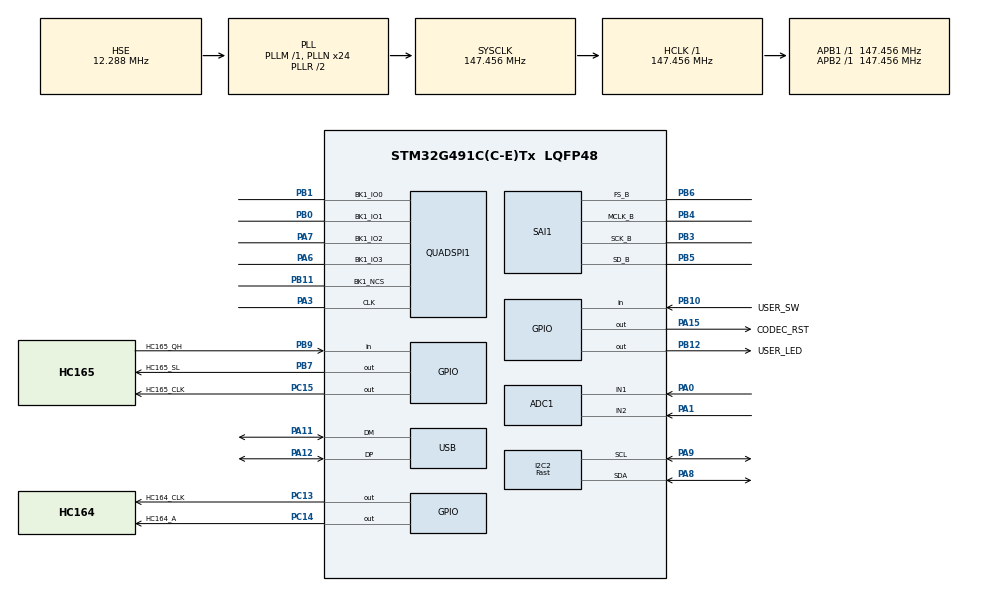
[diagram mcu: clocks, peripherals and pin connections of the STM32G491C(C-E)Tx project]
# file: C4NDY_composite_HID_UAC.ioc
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ADC1.Channel-0\#ChannelRegularConversion=ADC_CHANNEL_1
ADC1.Channel-1\#ChannelRegularConversion=ADC_CHANNEL_2
ADC1.ClockPrescaler=ADC_CLOCK_ASYNC_DIV4
ADC1.ContinuousConvMode=ENABLE
ADC1.DMAContinuousRequests=ENABLE
ADC1.NbrOfConversion=2
ADC1.NbrOfConversionFlag=1
ADC1.OffsetNumber-0\#ChannelRegularConversion=ADC_OFFSET_NONE
ADC1.OffsetNumber-1\#ChannelRegularConversion=ADC_OFFSET_NONE
ADC1.Overrun=ADC_OVR_DATA_OVERWRITTEN
ADC1.OversamplingMode=DISABLE
ADC1.Rank-0\#ChannelRegularConversion=1
ADC1.Rank-1\#ChannelRegularConversion=2
ADC1.SamplingTime-0\#ChannelRegularConversion=ADC_SAMPLETIME_640CYCLES_5
ADC1.SamplingTime-1\#ChannelRegularConversion=ADC_SAMPLETIME_640CYCLES_5
ADC1.master=1
Dma.ADC1.0.Direction=DMA_PERIPH_TO_MEMORY
Dma.ADC1.0.EventEnable=DISABLE
Dma.ADC1.0.Instance=DMA1_Channel2
Dma.ADC1.0.MemDataAlignment=DMA_MDATAALIGN_HALFWORD
Dma.ADC1.0.MemInc=DMA_MINC_ENABLE
Dma.ADC1.0.Mode=DMA_CIRCULAR
Dma.ADC1.0.PeriphDataAlignment=DMA_PDATAALIGN_HALFWORD
Dma.ADC1.0.PeriphInc=DMA_PINC_DISABLE
Dma.ADC1.0.Polarity=HAL_DMAMUX_REQ_GEN_RISING
Dma.ADC1.0.Priority=DMA_PRIORITY_LOW
Dma.ADC1.0.RequestNumber=1
Dma.ADC1.0.SignalID=NONE
Dma.ADC1.0.SyncEnable=DISABLE
Dma.ADC1.0.SyncPolarity=HAL_DMAMUX_SYNC_NO_EVENT
Dma.ADC1.0.SyncRequestNumber=1
Dma.ADC1.0.SyncSignalID=NONE
Dma.Request0=ADC1
I2C2.I2C_Speed_Mode=I2C_Fast
I2C2.Timing=0x40200F35
Mcu.Family=STM32G4
Mcu.Name=STM32G491C(C-E)Tx
Mcu.Package=LQFP48
NVIC.ADC1_2_IRQn=true\:8\:0\:true\:false\:true\:true\:true\:true
NVIC.DMA1_Channel2_IRQn=true\:4\:0\:true\:false\:true\:false\:true\:true
NVIC.PriorityGroup=NVIC_PRIORITYGROUP_4
NVIC.SAI1_IRQn=true\:2\:0\:true\:false\:true\:true\:true\:true
NVIC.TIM6_DAC_IRQn=true\:8\:0\:true\:false\:true\:true\:true\:true
NVIC.USB_HP_IRQn=true\:0\:0\:false\:false\:true\:true\:true\:true
NVIC.USB_LP_IRQn=true\:3\:0\:true\:false\:true\:true\:true\:true
PA0.Signal=SharedAnalog_PA0
PA1.Signal=SharedAnalog_PA1
PA11.Mode=Device
PA11.Signal=USB_DM
PA12.Mode=Device
PA12.Signal=USB_DP
PA13.Mode=Serial_Wire
PA13.Signal=SYS_JTMS-SWDIO
PA14.Mode=Serial_Wire
PA14.Signal=SYS_JTCK-SWCLK
PA15.GPIO_Label=CODEC_RST
PA15.Signal=GPIO_Output
PA3.GPIO_Speed=GPIO_SPEED_FREQ_VERY_HIGH
PA3.Mode=Single Bank 1
PA3.Signal=QUADSPI1_CLK
PA6.GPIO_Speed=GPIO_SPEED_FREQ_VERY_HIGH
PA6.Mode=Single Bank 1
PA6.Signal=QUADSPI1_BK1_IO3
PA7.GPIO_Speed=GPIO_SPEED_FREQ_VERY_HIGH
PA7.Mode=Single Bank 1
PA7.Signal=QUADSPI1_BK1_IO2
PA8.Mode=I2C
PA8.Signal=I2C2_SDA
PA9.Mode=I2C
PA9.Signal=I2C2_SCL
PB0.GPIO_Speed=GPIO_SPEED_FREQ_VERY_HIGH
PB0.Mode=Single Bank 1
PB0.Signal=QUADSPI1_BK1_IO1
PB1.GPIO_Speed=GPIO_SPEED_FREQ_VERY_HIGH
PB1.Mode=Single Bank 1
PB1.Signal=QUADSPI1_BK1_IO0
PB10.GPIO_Label=USER_SW
PB10.GPIO_PuPd=GPIO_PULLUP
PB10.Signal=GPIO_Input
PB11.GPIO_Speed=GPIO_SPEED_FREQ_VERY_HIGH
PB11.Mode=Single Bank 1
PB11.Signal=QUADSPI1_BK1_NCS
PB12.GPIO_Label=USER_LED
PB12.Signal=GPIO_Output
PB3.GPIO_Speed=GPIO_SPEED_FREQ_VERY_HIGH
PB3.Mode=SAI_B_MasterWithClock
PB3.Signal=SAI1_SCK_B
PB4.GPIO_Speed=GPIO_SPEED_FREQ_VERY_HIGH
PB4.Mode=SAI_B_MasterWithClock
PB4.Signal=SAI1_MCLK_B
PB5.GPIO_Speed=GPIO_SPEED_FREQ_VERY_HIGH
PB5.Mode=SAI_B_MasterWithClock
PB5.Signal=SAI1_SD_B
PB6.GPIO_FM6=__NULL
PB6.GPIO_Speed=GPIO_SPEED_FREQ_VERY_HIGH
PB6.Mode=SAI_B_MasterWithClock
PB6.Signal=SAI1_FS_B
PB7.GPIO_Label=HC165_SL
PB7.GPIO_Speed=GPIO_SPEED_FREQ_HIGH
PB7.Signal=GPIO_Output
PB9.GPIO_Label=HC165_QH
PB9.Signal=GPIO_Input
PC13.GPIO_Label=HC164_CLK
PC13.Signal=GPIO_Output
PC14-OSC32_IN.GPIO_Label=HC164_A
PC14-OSC32_IN.Signal=GPIO_Output
PC15-OSC32_OUT.GPIO_Label=HC165_CLK
PC15-OSC32_OUT.Signal=GPIO_Output
PF0-OSC_IN.Mode=HSE-External-Clock-Source
PF0-OSC_IN.Signal=RCC_OSC_IN
ProjectManager.HeapSize=0x200
ProjectManager.StackSize=0x400
ProjectManager.TargetToolchain=STM32CubeIDE
QUADSPI1.ClockMode=QSPI_CLOCK_MODE_0
QUADSPI1.ClockPrescaler=1
QUADSPI1.FifoThreshold=4
QUADSPI1.FlashSize=10
QUADSPI1.SampleShifting=QSPI_SAMPLE_SHIFTING_NONE
RCC.ADC12Freq_Value=147456000
RCC.ADC345Freq_Value=147456000
RCC.AHBFreq_Value=147456000
RCC.APB1Freq_Value=147456000
RCC.APB1TimFreq_Value=147456000
RCC.APB2Freq_Value=147456000
RCC.APB2TimFreq_Value=147456000
RCC.CortexFreq_Value=147456000
RCC.EXTERNAL_CLOCK_VALUE=12288000
RCC.HCLKFreq_Value=147456000
RCC.HSE_VALUE=12288000
RCC.HSI48_VALUE=48000000
RCC.HSI_VALUE=16000000
RCC.LSE_VALUE=32768
RCC.PLLN=24
RCC.PLLQ=RCC_PLLQ_DIV6
RCC.PLLSourceVirtual=RCC_PLLSOURCE_HSE
RCC.PWR_Regulator_Voltage_Scale=PWR_REGULATOR_VOLTAGE_SCALE1_BOOST
RCC.SAI1CLockSelection=RCC_SAI1CLKSOURCE_PLL
RCC.SYSCLKFreq_VALUE=147456000
RCC.SYSCLKSource=RCC_SYSCLKSOURCE_PLLCLK
RCC.USBFreq_Value=48000000
RCC.VCOOutputFreq_Value=294912000
SAI1.ActiveFrameLength-SAI_B_MasterWithClock=16
SAI1.AudioFrequency-SAI_B_MasterWithClock=SAI_AUDIO_FREQUENCY_MCKDIV
SAI1.DataSize-SAI_B_MasterWithClock=SAI_DATASIZE_16
SAI1.FIFOThreshold-SAI_B_MasterWithClock=SAI_FIFOTHRESHOLD_HF
SAI1.FirstBitOffset-SAI_B_MasterWithClock=0
SAI1.FrameLength-SAI_B_MasterWithClock=32
SAI1.Instance-SAI_B_MasterWithClock=SAI$Index_Block_B
SAI1.MckOutput-SAI_B_MasterWithClock=SAI_MCK_OUTPUT_ENABLE
SAI1.MckOverSampling-SAI_B_MasterWithClock=SAI_MCK_OVERSAMPLING_DISABLE
SAI1.Mckdiv-SAI_B_MasterWithClock=4
SAI1.MonoStereoMode-SAI_B_MasterWithClock=SAI_STEREOMODE
SAI1.NoDivider-SAI_B_MasterWithClock=SAI_MASTERDIVIDER_ENABLE
SAI1.SlotActive-SAI_B_MasterWithClock=0x0000FFFF
SAI1.SlotNumber-SAI_B_MasterWithClock=2
SAI1.VirtualMode-SAI_B_MasterWithClock=VM_MASTER
SAI1.VirtualSlotActive-SAI_B_MasterWithClock=SAI_SLOTACTIVE_ALL
SH.SharedAnalog_PA0.0=GPIO_Analog
SH.SharedAnalog_PA0.1=ADC1_IN1,IN1-Single-Ended
SH.SharedAnalog_PA1.0=GPIO_Analog
SH.SharedAnalog_PA1.1=ADC1_IN2,IN2-Single-Ended
TIM6.PeriodNoDither=20-1
TIM6.Prescaler=32768-1
USB.Sof_enable=ENABLE
VP_TIM6_VS_ClockSourceINT.Mode=Enable_Timer
board=custom

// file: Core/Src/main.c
/* USER CODE BEGIN Header */
/**
  ******************************************************************************
  * @file           : main.c
  * @brief          : Main program body
  ******************************************************************************
  * @attention
  *
  * Copyright (c) 2023 STMicroelectronics.
  * All rights reserved.
  *
  * This software is licensed under terms that can be found in the LICENSE file
  * in the root directory of this software component.
  * If no LICENSE file comes with this software, it is provided AS-IS.
  *
  ******************************************************************************
  */
/* USER CODE END Header */
#include "main.h"
#include "adc.h"
#include "dma.h"
#include "i2c.h"
#include "quadspi.h"
#include "sai.h"
#include "tim.h"
#include "usb.h"
#include "gpio.h"

/* USER CODE BEGIN Includes */
#include <stdbool.h>
#include <stdlib.h>
#include <math.h>

#include "usb_descriptors.h"

#include "ADAU1761_IC_1_PARAM.h"
#include "ADAU1761_IC_1_REG.h"
#include "ADAU1761_IC_1.h"
#include "SigmaStudioFW.h"
/* USER CODE END Includes */

/* USER CODE BEGIN PD */
#define AUDIO_SAMPLE_RATE 48000

#define ADAU1761_ADDR 0x70

#define MATRIX_ROWS 5
#define MATRIX_COLUMNS 13
/* USER CODE END PD */

/* USER CODE BEGIN PM */
#define SIGMASTUDIOTYPE_FIXPOINT 	0
#define SIGMASTUDIOTYPE_INTEGER 	1

#define SIGMA_SAFELOAD_MODULO_RAM_SIZE 0x0000
#define SIGMA_SAFELOAD_DATA_1 0x0001
#define SIGMA_SAFELOAD_DATA_2 0x0002
#define SIGMA_SAFELOAD_DATA_3 0x0003
#define SIGMA_SAFELOAD_DATA_4 0x0004
#define SIGMA_SAFELOAD_DATA_5 0x0005
#define SIGMA_SAFELOAD_TARGET_ADDRESS 0x0006
#define SIGMA_SAFELOAD_TRIGGER 0x0007

/* USER CODE END PM */

/* USER CODE BEGIN PV */
uint16_t pot_value[2] = {0};
uint8_t xfade_buffer_index = 0;
uint8_t buffer_index = 0;
uint16_t xfade_buffer[16] = {0};
uint16_t xfade = 0;
uint16_t xfade_prev = 0;
uint16_t master_gain_buffer[16] = {0};
uint16_t master_gain = 0;
uint16_t master_gain_prev = 0;

struct keyboardHID_t {
	uint8_t modifiers;
	uint8_t reserved;
	uint8_t key[6];
} keyboardHID;

uint16_t keyState[MATRIX_ROWS] = {0x0};
uint16_t prevKeyState[MATRIX_ROWS] = {0x0};

bool isKeymapIDChanged = false;
uint8_t keymapID = 0;

// List of supported sample rates
const uint32_t sample_rates[] = {48000};
uint32_t current_sample_rate  = 48000;

enum
{
  VOLUME_CTRL_0_DB = 0,
  VOLUME_CTRL_10_DB = 2560,
  VOLUME_CTRL_20_DB = 5120,
  VOLUME_CTRL_30_DB = 7680,
  VOLUME_CTRL_40_DB = 10240,
  VOLUME_CTRL_50_DB = 12800,
  VOLUME_CTRL_60_DB = 15360,
  VOLUME_CTRL_70_DB = 17920,
  VOLUME_CTRL_80_DB = 20480,
  VOLUME_CTRL_90_DB = 23040,
  VOLUME_CTRL_100_DB = 25600,
  VOLUME_CTRL_SILENCE = 0x8000,
};

// Audio controls
// Current states
int8_t mute[CFG_TUD_AUDIO_FUNC_1_N_CHANNELS_RX + 1];       // +1 for master channel 0
int16_t volume[CFG_TUD_AUDIO_FUNC_1_N_CHANNELS_RX + 1];    // +1 for master channel 0

// Buffer for microphone data
int32_t mic_buf[CFG_TUD_AUDIO_FUNC_1_EP_IN_SW_BUF_SZ / 2];
// Buffer for speaker data
int32_t spk_buf[CFG_TUD_AUDIO_FUNC_1_EP_OUT_SW_BUF_SZ / 2] = {0};
int32_t hpout_buf[CFG_TUD_AUDIO_FUNC_1_EP_OUT_SW_BUF_SZ / 2] = {0};

#define SAI_RNG_BUF_SIZE 20480
#define SAI_BUF_SIZE 512
uint64_t sai_buf_index = 0;
uint64_t sai_transmit_index = 0;
int32_t sai_buf[SAI_RNG_BUF_SIZE] = {0};
bool is_dma_pause = false;

// Speaker data size received in the last frame
int spk_data_size;
// Resolution per format
const uint8_t resolutions_per_format[CFG_TUD_AUDIO_FUNC_1_N_FORMATS] = {CFG_TUD_AUDIO_FUNC_1_FORMAT_1_RESOLUTION_RX,
                                                                        CFG_TUD_AUDIO_FUNC_1_FORMAT_2_RESOLUTION_RX};
// Current resolution, update on format change
uint8_t current_resolution = 16;

#define N_SAMPLE_RATES  TU_ARRAY_SIZE(sample_rates)

// deafult QWERTY layout
uint8_t keymaps_default[MATRIX_ROWS][MATRIX_COLUMNS] = {
//       ESC   1     2     3     4     5     6     7     8     9     0     -_    =+
		{0x29, 0x1E, 0x1F, 0x20, 0x21, 0x22, 0x23, 0x24, 0x25, 0x26, 0x27, 0x2D, 0x2E},
//       TAB   q     w     e     r     t     y     u     i     o     p     [{    ]}
		{0x2B, 0x14, 0x1A, 0x08, 0x15, 0x17, 0x1C, 0x18, 0x0C, 0x12, 0x13, 0x2F, 0x30},
//       CAPS  a     s     d     f     g     h     j     k     l     ;:    '"    \|
		{0x39, 0x04, 0x16, 0x07, 0x09, 0x0A, 0x0B, 0x0D, 0x0E, 0x0F, 0x33, 0x34, 0x89},
//       LSFT  z     x     c     v     b     n     m     ,<    .>    /?    RSFT  `~
		{0xE1, 0x1D, 0x1B, 0x06, 0x19, 0x05, 0x11, 0x10, 0x36, 0x37, 0x38, 0xE5, 0x35},
//       GUI               LALT  BS    ENT   SPC   Int4  RCTRL ◀     ▼     ▲     ►
		{0xE3, 0xFE, 0xFF, 0xE2, 0x2A, 0x28, 0x2C, 0x8A, 0xE4, 0x50, 0x51, 0x52, 0x4F}
};

// Pinky-less Dvorak layout
uint8_t keymaps_pinkyless[MATRIX_ROWS][MATRIX_COLUMNS] = {
//       ESC   1     2     3     4     5     6     7     8     9     0     [{    }]
		{0x29, 0x1E, 0x1F, 0x20, 0x21, 0x22, 0x23, 0x24, 0x25, 0x26, 0x27, 0x2F, 0x30},
//       TAB   '"    ,<    o     u     y     f     g     c     r     l     /?    +=
		{0x2B, 0x34, 0x36, 0x12, 0x18, 0x1C, 0x09, 0x0A, 0x06, 0x15, 0x0F, 0x38, 0x2E},
//       LCTRL p     i     e     a     .>    d     s     t     h     z     -_    \|
		{0xE0, 0x13, 0x0C, 0x08, 0x04, 0x37, 0x07, 0x16, 0x17, 0x0B, 0x1D, 0x2D, 0x31},
//       LSFT  j     q     ;:    k     x     b     m     w     n     v     RSFT  `~
		{0xE1, 0x0D, 0x14, 0x33, 0x0E, 0x1B, 0x05, 0x10, 0x1A, 0x11, 0x19, 0xE5, 0x35},
//       GUI               LALT  BS    DEL   ENT   SPC   CAPS  ◀     ▼     ▲     ►
		{0xE3, 0xFE, 0xFF, 0xE2, 0x2A, 0x4C, 0x28, 0x2C, 0x39, 0x50, 0x51, 0x52, 0x4F}
};
/* USER CODE END PV */

void SystemClock_Config(void);

/* USER CODE BEGIN 0 */
//--------------------------------------------------------------------+
// USB HID
//--------------------------------------------------------------------+

// Invoked when sent REPORT successfully to host
// Application can use this to send the next report
// Note: For composite reports, report[0] is report ID
#if 0
void tud_hid_report_complete_cb(uint8_t instance, uint8_t const* report, uint16_t len)
{
  (void) instance;
  (void) len;

  uint8_t next_report_id = report[0] + 1u;

  if (next_report_id < REPORT_ID_COUNT)
  {
    send_hid_report(next_report_id, board_button_read());
  }
}
#endif

// Invoked when received GET_REPORT control request
// Application must fill buffer report's content and return its length.
// Return zero will cause the stack to STALL request
uint16_t tud_hid_get_report_cb(uint8_t instance, uint8_t report_id, hid_report_type_t report_type, uint8_t* buffer, uint16_t reqlen)
{
  // TODO not Implemented
  (void) instance;
  (void) report_id;
  (void) report_type;
  (void) buffer;
  (void) reqlen;

  return 0;
}

// Invoked when received SET_REPORT control request or
// received data on OUT endpoint ( Report ID = 0, Type = 0 )
void tud_hid_set_report_cb(uint8_t instance, uint8_t report_id, hid_report_type_t report_type, uint8_t const* buffer, uint16_t bufsize)
{
  (void) instance;
#if 0
  if (report_type == HID_REPORT_TYPE_OUTPUT)
  {
    // Set keyboard LED e.g Capslock, Numlock etc...
    if (report_id == REPORT_ID_KEYBOARD)
    {
      // bufsize should be (at least) 1
      if ( bufsize < 1 ) return;

      uint8_t const kbd_leds = buffer[0];

      if (kbd_leds & KEYBOARD_LED_CAPSLOCK)
      {
        // Capslock On: disable blink, turn led on
        blink_interval_ms = 0;
        board_led_write(true);
      }else
      {
        // Caplocks Off: back to normal blink
        board_led_write(false);
        blink_interval_ms = BLINK_MOUNTED;
      }
    }
  }
#endif
}

// Helper for clock get requests
static bool tud_audio_clock_get_request(uint8_t rhport, audio_control_request_t const *request)
{
  TU_ASSERT(request->bEntityID == UAC2_ENTITY_CLOCK);

  if (request->bControlSelector == AUDIO_CS_CTRL_SAM_FREQ)
  {
    if (request->bRequest == AUDIO_CS_REQ_CUR)
    {
      TU_LOG1("Clock get current freq %lu\r\n", current_sample_rate);

      audio_control_cur_4_t curf = { (int32_t) tu_htole32(current_sample_rate) };
      return tud_audio_buffer_and_schedule_control_xfer(rhport, (tusb_control_request_t const *)request, &curf, sizeof(curf));
    }
    else if (request->bRequest == AUDIO_CS_REQ_RANGE)
    {
      audio_control_range_4_n_t(N_SAMPLE_RATES) rangef =
      {
        .wNumSubRanges = tu_htole16(N_SAMPLE_RATES)
      };
      TU_LOG1("Clock get %d freq ranges\r\n", N_SAMPLE_RATES);
      for(uint8_t i = 0; i < N_SAMPLE_RATES; i++)
      {
        rangef.subrange[i].bMin = (int32_t) sample_rates[i];
        rangef.subrange[i].bMax = (int32_t) sample_rates[i];
        rangef.subrange[i].bRes = 0;
        TU_LOG1("Range %d (%d, %d, %d)\r\n", i, (int)rangef.subrange[i].bMin, (int)rangef.subrange[i].bMax, (int)rangef.subrange[i].bRes);
      }

      return tud_audio_buffer_and_schedule_control_xfer(rhport, (tusb_control_request_t const *)request, &rangef, sizeof(rangef));
    }
  }
  else if (request->bControlSelector == AUDIO_CS_CTRL_CLK_VALID &&
           request->bRequest == AUDIO_CS_REQ_CUR)
  {
    audio_control_cur_1_t cur_valid = { .bCur = 1 };
    TU_LOG1("Clock get is valid %u\r\n", cur_valid.bCur);
    return tud_audio_buffer_and_schedule_control_xfer(rhport, (tusb_control_request_t const *)request, &cur_valid, sizeof(cur_valid));
  }
  TU_LOG1("Clock get request not supported, entity = %u, selector = %u, request = %u\r\n",
          request->bEntityID, request->bControlSelector, request->bRequest);
  return false;
}

// Helper for clock set requests
static bool tud_audio_clock_set_request(uint8_t rhport, audio_control_request_t const *request, uint8_t const *buf)
{
  (void)rhport;

  TU_ASSERT(request->bEntityID == UAC2_ENTITY_CLOCK);
  TU_VERIFY(request->bRequest == AUDIO_CS_REQ_CUR);

  if (request->bControlSelector == AUDIO_CS_CTRL_SAM_FREQ)
  {
    TU_VERIFY(request->wLength == sizeof(audio_control_cur_4_t));

    current_sample_rate = (uint32_t) ((audio_control_cur_4_t const *)buf)->bCur;

    TU_LOG1("Clock set current freq: %ld\r\n", current_sample_rate);

    return true;
  }
  else
  {
    TU_LOG1("Clock set request not supported, entity = %u, selector = %u, request = %u\r\n",
            request->bEntityID, request->bControlSelector, request->bRequest);
    return false;
  }
}

// Helper for feature unit get requests
static bool tud_audio_feature_unit_get_request(uint8_t rhport, audio_control_request_t const *request)
{
  TU_ASSERT(request->bEntityID == UAC2_ENTITY_SPK_FEATURE_UNIT);

  if (request->bControlSelector == AUDIO_FU_CTRL_MUTE && request->bRequest == AUDIO_CS_REQ_CUR)
  {
    audio_control_cur_1_t mute1 = { .bCur = mute[request->bChannelNumber] };
    TU_LOG1("Get channel %u mute %d\r\n", request->bChannelNumber, mute1.bCur);
    return tud_audio_buffer_and_schedule_control_xfer(rhport, (tusb_control_request_t const *)request, &mute1, sizeof(mute1));
  }
  else if (UAC2_ENTITY_SPK_FEATURE_UNIT && request->bControlSelector == AUDIO_FU_CTRL_VOLUME)
  {
    if (request->bRequest == AUDIO_CS_REQ_RANGE)
    {
      audio_control_range_2_n_t(1) range_vol = {
        .wNumSubRanges = tu_htole16(1),
        .subrange[0] = { .bMin = tu_htole16(-VOLUME_CTRL_50_DB), tu_htole16(VOLUME_CTRL_0_DB), tu_htole16(256) }
      };
      TU_LOG1("Get channel %u volume range (%d, %d, %u) dB\r\n", request->bChannelNumber,
              range_vol.subrange[0].bMin / 256, range_vol.subrange[0].bMax / 256, range_vol.subrange[0].bRes / 256);
      return tud_audio_buffer_and_schedule_control_xfer(rhport, (tusb_control_request_t const *)request, &range_vol, sizeof(range_vol));
    }
    else if (request->bRequest == AUDIO_CS_REQ_CUR)
    {
      audio_control_cur_2_t cur_vol = { .bCur = tu_htole16(volume[request->bChannelNumber]) };
      TU_LOG1("Get channel %u volume %d dB\r\n", request->bChannelNumber, cur_vol.bCur / 256);
      return tud_audio_buffer_and_schedule_control_xfer(rhport, (tusb_control_request_t const *)request, &cur_vol, sizeof(cur_vol));
    }
  }
  TU_LOG1("Feature unit get request not supported, entity = %u, selector = %u, request = %u\r\n",
          request->bEntityID, request->bControlSelector, request->bRequest);

  return false;
}

// Helper for feature unit set requests
static bool tud_audio_feature_unit_set_request(uint8_t rhport, audio_control_request_t const *request, uint8_t const *buf)
{
  (void)rhport;

  TU_ASSERT(request->bEntityID == UAC2_ENTITY_SPK_FEATURE_UNIT);
  TU_VERIFY(request->bRequest == AUDIO_CS_REQ_CUR);

  if (request->bControlSelector == AUDIO_FU_CTRL_MUTE)
  {
    TU_VERIFY(request->wLength == sizeof(audio_control_cur_1_t));

    mute[request->bChannelNumber] = ((audio_control_cur_1_t const *)buf)->bCur;

    TU_LOG1("Set channel %d Mute: %d\r\n", request->bChannelNumber, mute[request->bChannelNumber]);

    return true;
  }
  else if (request->bControlSelector == AUDIO_FU_CTRL_VOLUME)
  {
    TU_VERIFY(request->wLength == sizeof(audio_control_cur_2_t));

    volume[request->bChannelNumber] = ((audio_control_cur_2_t const *)buf)->bCur;

    TU_LOG1("Set channel %d volume: %d dB\r\n", request->bChannelNumber, volume[request->bChannelNumber] / 256);

    return true;
  }
  else
  {
    TU_LOG1("Feature unit set request not supported, entity = %u, selector = %u, request = %u\r\n",
            request->bEntityID, request->bControlSelector, request->bRequest);
    return false;
  }
}

//--------------------------------------------------------------------+
// Application Callback API Implementations
//--------------------------------------------------------------------+
// Invoked when device is mounted
void tud_mount_cb(void)
{
  //blink_interval_ms = BLINK_MOUNTED;
}

// Invoked when device is unmounted
void tud_umount_cb(void)
{
  //blink_interval_ms = BLINK_NOT_MOUNTED;
}

// Invoked when usb bus is suspended
// remote_wakeup_en : if host allow us  to perform remote wakeup
// Within 7ms, device must draw an average of current less than 2.5 mA from bus
void tud_suspend_cb(bool remote_wakeup_en)
{
  (void)remote_wakeup_en;
  //blink_interval_ms = BLINK_SUSPENDED;
}

// Invoked when usb bus is resumed
void tud_resume_cb(void)
{
  //blink_interval_ms = BLINK_MOUNTED;
}

// Invoked when audio class specific get request received for an entity
bool tud_audio_get_req_entity_cb(uint8_t rhport, tusb_control_request_t const *p_request)
{
  audio_control_request_t const *request = (audio_control_request_t const *)p_request;

  if (request->bEntityID == UAC2_ENTITY_CLOCK)
    return tud_audio_clock_get_request(rhport, request);
  if (request->bEntityID == UAC2_ENTITY_SPK_FEATURE_UNIT)
    return tud_audio_feature_unit_get_request(rhport, request);
  else
  {
    TU_LOG1("Get request not handled, entity = %d, selector = %d, request = %d\r\n",
            request->bEntityID, request->bControlSelector, request->bRequest);
  }
  return false;
}

// Invoked when audio class specific set request received for an entity
bool tud_audio_set_req_entity_cb(uint8_t rhport, tusb_control_request_t const *p_request, uint8_t *buf)
{
  audio_control_request_t const *request = (audio_control_request_t const *)p_request;

  if (request->bEntityID == UAC2_ENTITY_SPK_FEATURE_UNIT)
    return tud_audio_feature_unit_set_request(rhport, request, buf);
  if (request->bEntityID == UAC2_ENTITY_CLOCK)
    return tud_audio_clock_set_request(rhport, request, buf);
  TU_LOG1("Set request not handled, entity = %d, selector = %d, request = %d\r\n",
          request->bEntityID, request->bControlSelector, request->bRequest);

  return false;
}

bool tud_audio_set_itf_close_EP_cb(uint8_t rhport, tusb_control_request_t const * p_request)
{
  (void)rhport;

  uint8_t const itf = tu_u16_low(tu_le16toh(p_request->wIndex));
  uint8_t const alt = tu_u16_low(tu_le16toh(p_request->wValue));

#if 0
  if (ITF_NUM_AUDIO_STREAMING_SPK == itf && alt == 0)
      blink_interval_ms = BLINK_MOUNTED;
#endif

  return true;
}

bool tud_audio_set_itf_cb(uint8_t rhport, tusb_control_request_t const * p_request)
{
  (void)rhport;
  uint8_t const itf = tu_u16_low(tu_le16toh(p_request->wIndex));
  uint8_t const alt = tu_u16_low(tu_le16toh(p_request->wValue));

#if 0
  TU_LOG2("Set interface %d alt %d\r\n", itf, alt);
  if (ITF_NUM_AUDIO_STREAMING_SPK == itf && alt != 0)
      blink_interval_ms = BLINK_STREAMING;
#endif

  // Clear buffer when streaming format is changed
  spk_data_size = 0;
  if(alt != 0)
  {
    current_resolution = resolutions_per_format[alt-1];
  }

  return true;
}

bool tud_audio_rx_done_pre_read_cb(uint8_t rhport, uint16_t n_bytes_received, uint8_t func_id, uint8_t ep_out, uint8_t cur_alt_setting)
{
  (void)rhport;
  (void)func_id;
  (void)ep_out;
  (void)cur_alt_setting;

  spk_data_size = tud_audio_read(spk_buf, n_bytes_received);
  for (int i = 0; i < spk_data_size / 4; i++)
  {
	  sai_buf[sai_buf_index % SAI_RNG_BUF_SIZE] = spk_buf[i];
	  sai_buf_index++;
  }

  //SEGGER_RTT_printf(0, "sai_buf_index = %d\n", sai_buf_index);

  return true;
}

bool tud_audio_tx_done_pre_load_cb(uint8_t rhport, uint8_t itf, uint8_t ep_in, uint8_t cur_alt_setting)
{
  (void)rhport;
  (void)itf;
  (void)ep_in;
  (void)cur_alt_setting;

  // This callback could be used to fill microphone data separately
  return true;
}

void HAL_SAI_TxCpltCallback(SAI_HandleTypeDef *hsai)
{
	if (sai_buf_index >= (sai_transmit_index + SAI_BUF_SIZE / 4))
	{
		for (int i = 0; i < SAI_BUF_SIZE / 4; i++)
		{
			hpout_buf[i] = sai_buf[sai_transmit_index % SAI_RNG_BUF_SIZE];
			sai_transmit_index++;
		}
	}
}

void codec_control_task(void)
{
	xfade_buffer[xfade_buffer_index] = pot_value[1] >> 2;
	xfade_buffer_index = (xfade_buffer_index + 1) & (16 - 1);
	xfade = 0;
	for (int i = 0; i < 16; i++)
	{
		xfade += xfade_buffer[i];
	}
	xfade >>= 4;

	if (abs(xfade - xfade_prev) > 2)
	{
		send_xfade(xfade);
		xfade_prev = xfade;
	}

	master_gain_buffer[buffer_index] = pot_value[0] >> 2;
	buffer_index = (buffer_index + 1) & (16 - 1);
	master_gain = 0;
	for (int i = 0; i < 16; i++)
	{
		master_gain += master_gain_buffer[i];
	}
	master_gain >>= 4;

	if (abs(master_gain - master_gain_prev) > 2)
	{
		send_master_gain(master_gain);
		master_gain_prev = master_gain;
	}
}

uint8_t getKeyCode(uint8_t keymapId, uint8_t x, uint8_t y)
{
	if (keymapId == 0)
	{
		return keymaps_default[x][y];
	}
	else
	{
		return keymaps_pinkyless[x][y];
	}
}

void resetKeys(void)
{
	keyboardHID.modifiers = 0;
	for (int k = 0; k < 6; k++)
	{
		keyboardHID.key[k] = 0;
	}
}

void clearKeys(uint8_t code)
{
	if (code == 0xFF)
	{
		isKeymapIDChanged = false;
	}
	else if (code >= 0xE0 && code <= 0xE7)
	{
		keyboardHID.modifiers &= ~(1 << (code - 0xE0));
	}
	else
	{
		for (int k = 0; k < 6; k++)
		{
			if (keyboardHID.key[k] == code)
			{
				keyboardHID.key[k] = 0;
			}
		}
	}
}

void setKeys(uint8_t code)
{
	if (code == 0xFF)
	{
		if (!isKeymapIDChanged)
		{
			if (keymapID == 0)
			{
				keymapID = 1;
				HAL_GPIO_WritePin(USER_LED_GPIO_Port, USER_LED_Pin, GPIO_PIN_SET);
			}
			else
			{
				keymapID = 0;
				HAL_GPIO_WritePin(USER_LED_GPIO_Port, USER_LED_Pin, GPIO_PIN_RESET);
			}
			isKeymapIDChanged = true;
		}
	}
	else if (code >= 0xE0 && code <= 0xE7)
	{
		keyboardHID.modifiers |= 1 << (code - 0xE0);
	}
	else
	{
		for (int k = 0; k < 6; k++)
		{
			if (keyboardHID.key[k] == code)
			{
				break;
			}
			else if (keyboardHID.key[k] == 0x00)
			{
				keyboardHID.key[k] = code;
				break;
			}
		}
	}
}

void hid_keyscan_task(void)
{
	static int i = 0;

	switch (i)
	{
	case 0:
		HAL_GPIO_WritePin(HC164_A_GPIO_Port, HC164_A_Pin, GPIO_PIN_RESET);
	case 1:
	case 2:
	case 3:
	case 4:
		HAL_GPIO_WritePin(HC164_CLK_GPIO_Port, HC164_CLK_Pin, GPIO_PIN_SET);
		HAL_GPIO_WritePin(HC164_CLK_GPIO_Port, HC164_CLK_Pin, GPIO_PIN_RESET);

		HAL_GPIO_WritePin(HC164_A_GPIO_Port, HC164_A_Pin, GPIO_PIN_SET);

		HAL_GPIO_WritePin(HC165_SL_GPIO_Port, HC165_SL_Pin, GPIO_PIN_RESET);
		asm("NOP");
		HAL_GPIO_WritePin(HC165_SL_GPIO_Port, HC165_SL_Pin, GPIO_PIN_SET);

		for (int j = 0; j < 16; j++)
		{
			uint8_t jj = 255;
			if (j < 8)
			{
				jj = j + 5;
			}
			else if (j >= 11 && j < 16)
			{
				jj = j - 11;
			}

			if (jj < MATRIX_COLUMNS)
			{
				if (HAL_GPIO_ReadPin(HC165_QH_GPIO_Port, HC165_QH_Pin))
				{
					keyState[i] &= ~((uint16_t)1 << jj);

					if (keyState[i] != prevKeyState[i])
					{
						uint8_t keycode = getKeyCode(keymapID, i, (MATRIX_COLUMNS - 1) - jj);
						clearKeys(keycode);
					}
				}
				else
				{
					keyState[i] |= ((uint16_t)1 << jj);

					uint8_t keycode = getKeyCode(keymapID, i, (MATRIX_COLUMNS - 1) - jj);
					setKeys(keycode);
				}
			}

			HAL_GPIO_WritePin(HC165_CLK_GPIO_Port, HC165_CLK_Pin, GPIO_PIN_SET);
			HAL_GPIO_WritePin(HC165_CLK_GPIO_Port, HC165_CLK_Pin, GPIO_PIN_RESET);
		}

		i++;
		break;
	case 5:
		for (int i = 0; i < MATRIX_ROWS; i++)
		{
			if (keyState[i] != 0x0 || (keyState[i] == 0x0 && keyState[i] != prevKeyState[i]))
			{
				if (!tud_hid_ready())
					return;

				tud_hid_keyboard_report(REPORT_ID_KEYBOARD, keyboardHID.modifiers, keyboardHID.key);
				break;
			}
		}

		for (int i = 0; i < MATRIX_ROWS; i++)
		{
			prevKeyState[i] = keyState[i];
		}

		i = 0;
		break;
	default:
		i = 0;
		break;
	}
}

void HAL_TIM_PeriodElapsedCallback(TIM_HandleTypeDef *htim)
{
	if (htim == &htim6)
	{
		//SEGGER_RTT_printf(0, "pot = %d, %d\n", pot_value[0] >> 2, pot_value[1] >> 2);
		master_gain_buffer[buffer_index] = pot_value[0] >> 2;
		buffer_index = (buffer_index + 1) & (16 - 1);
		master_gain = 0;
		for (int i = 0; i < 16; i++)
		{
			master_gain += master_gain_buffer[i];
		}
		master_gain >>= 4;

		if (abs(master_gain - master_gain_prev) > 2)
		{
			//SEGGER_RTT_printf(0, "master gain = %d\n", master_gain);
			send_master_gain(master_gain);
			master_gain_prev = master_gain;
		}
	}
}

void send_xfade(uint16_t fader_val)
{
	double xf_rate = (double)fader_val / 1023.0;

	uint8_t dc1_array[4] = {0x00};
	dc1_array[0] = ((uint32_t)((1.0 - xf_rate) * pow(2, 23)) >> 24) & 0x000000FF;
	dc1_array[1] = ((uint32_t)((1.0 - xf_rate) * pow(2, 23)) >> 16) & 0x000000FF;
	dc1_array[2] = ((uint32_t)((1.0 - xf_rate) * pow(2, 23)) >> 8)  & 0x000000FF;
	dc1_array[3] =  (uint32_t)((1.0 - xf_rate) * pow(2, 23))        & 0x000000FF;

	SIGMA_WRITE_REGISTER_BLOCK(DEVICE_ADDR_IC_1, MOD_DC1_DCINPALG1_ADDR, 4, dc1_array);

	uint8_t dc2_array[4] = {0x00};
	dc2_array[0] = ((uint32_t)(xf_rate * pow(2, 23)) >> 24) & 0x000000FF;
	dc2_array[1] = ((uint32_t)(xf_rate * pow(2, 23)) >> 16) & 0x000000FF;
	dc2_array[2] = ((uint32_t)(xf_rate * pow(2, 23)) >> 8)  & 0x000000FF;
	dc2_array[3] =  (uint32_t)(xf_rate * pow(2, 23))        & 0x000000FF;

	SIGMA_WRITE_REGISTER_BLOCK(DEVICE_ADDR_IC_1, MOD_DC2_DCINPALG2_ADDR, 4, dc2_array);
}

void send_master_gain(uint16_t master_val)
{
	double master_db = (135.0 / 1023.0) * (double)master_val - 120.0;

	double master_rate = pow(10.0, master_db / 20);

	uint8_t master_gain_array[8] = {0x00};
	master_gain_array[0] = ((uint32_t)(master_rate * pow(2, 23)) >> 24) & 0x000000FF;
	master_gain_array[1] = ((uint32_t)(master_rate * pow(2, 23)) >> 16) & 0x000000FF;
	master_gain_array[2] = ((uint32_t)(master_rate * pow(2, 23)) >> 8)  & 0x000000FF;
	master_gain_array[3] =  (uint32_t)(master_rate * pow(2, 23))        & 0x000000FF;
	master_gain_array[4] = 0x00;// if_step
	master_gain_array[5] = 0x00;
	master_gain_array[6] = 0x80;
	master_gain_array[7] = 0x00;
#if 0
	SEGGER_RTT_printf(0, "%d -> %02X,%02X,%02X,%02X\n", master_val,
													  master_gain_array[0],
													  master_gain_array[1],
													  master_gain_array[2],
													  master_gain_array[3]);
#endif
	SIGMA_SAFELOAD_WRITE_DATA(DEVICE_ADDR_IC_1, SIGMA_SAFELOAD_DATA_1, 8, master_gain_array);

	uint8_t target_address_count[8] = {0x00, 0x00, 0x00, MOD_MASTERGAIN_ALG0_TARGET_ADDR - 1,
									   0x00, 0x00, 0x00, MOD_MASTERGAIN_COUNT};
	SIGMA_SAFELOAD_WRITE_DATA(DEVICE_ADDR_IC_1, SIGMA_SAFELOAD_TARGET_ADDRESS, 8, target_address_count);
}

void send_switch_to_linein(void)
{
	uint8_t switch0_array[4] = {0x00, 0x80, 0x00, 0x00};
	SIGMA_SAFELOAD_WRITE_DATA(DEVICE_ADDR_IC_1, SIGMA_SAFELOAD_DATA_1, 4, switch0_array);

	uint8_t target_address0_count[8] = {0x00, 0x00, 0x00, MOD_LNPHSW_ALG0_STEREODEMUXSLEW10_ADDR - 1,
									    0x00, 0x00, 0x00, 0x01};
	SIGMA_SAFELOAD_WRITE_DATA(DEVICE_ADDR_IC_1, SIGMA_SAFELOAD_TARGET_ADDRESS, 8, target_address0_count);

	uint8_t switch1_array[4] = {0x00, 0x00, 0x00, 0x00};
	SIGMA_SAFELOAD_WRITE_DATA(DEVICE_ADDR_IC_1, SIGMA_SAFELOAD_DATA_1, 4, switch1_array);

	uint8_t target_address1_count[8] = {0x00, 0x00, 0x00, MOD_LNPHSW_ALG0_STEREODEMUXSLEW11_ADDR - 1,
									    0x00, 0x00, 0x00, 0x01};
	SIGMA_SAFELOAD_WRITE_DATA(DEVICE_ADDR_IC_1, SIGMA_SAFELOAD_TARGET_ADDRESS, 8, target_address1_count);
}

void send_switch_to_phonoin(void)
{
	uint8_t switch0_array[4] = {0x00, 0x00, 0x00, 0x00};
	SIGMA_SAFELOAD_WRITE_DATA(DEVICE_ADDR_IC_1, SIGMA_SAFELOAD_DATA_1, 4, switch0_array);

	uint8_t target_address0_count[8] = {0x00, 0x00, 0x00, MOD_LNPHSW_ALG0_STEREODEMUXSLEW10_ADDR - 1,
									    0x00, 0x00, 0x00, 0x01};
	SIGMA_SAFELOAD_WRITE_DATA(DEVICE_ADDR_IC_1, SIGMA_SAFELOAD_TARGET_ADDRESS, 8, target_address0_count);

	uint8_t switch1_array[4] = {0x00, 0x80, 0x00, 0x00};
	SIGMA_SAFELOAD_WRITE_DATA(DEVICE_ADDR_IC_1, SIGMA_SAFELOAD_DATA_1, 4, switch1_array);

	uint8_t target_address1_count[8] = {0x00, 0x00, 0x00, MOD_LNPHSW_ALG0_STEREODEMUXSLEW11_ADDR - 1,
									    0x00, 0x00, 0x00, 0x01};
	SIGMA_SAFELOAD_WRITE_DATA(DEVICE_ADDR_IC_1, SIGMA_SAFELOAD_TARGET_ADDRESS, 8, target_address1_count);
}
/* USER CODE END 0 */

int main(void)
{

  /* MCU Configuration--------------------------------------------------------*/

  /* Reset of all peripherals, Initializes the Flash interface and the Systick. */
  HAL_Init();

  /* Configure the system clock */
  SystemClock_Config();

  /* Initialize all configured peripherals */
  MX_GPIO_Init();
  MX_DMA_Init();
  MX_SAI1_Init();
  MX_QUADSPI1_Init();
  MX_I2C2_Init();
  MX_ADC1_Init();
  MX_USB_PCD_Init();
  MX_TIM6_Init();
  /* USER CODE BEGIN 2 */
  default_download_IC_1();

  tusb_init();

  /* Run the ADC calibration in single-ended mode */
  if (HAL_ADCEx_Calibration_Start(&hadc1, ADC_SINGLE_ENDED) != HAL_OK)
  {
	  /* Calibration Error */
      Error_Handler();
  }

  if (HAL_ADC_Start_DMA(&hadc1, (uint32_t *)pot_value, 2) != HAL_OK)
  {
      /* ADC conversion start error */
      Error_Handler();
  }

  if (HAL_SAI_Transmit_DMA(&hsai_BlockB1, (uint8_t *)hpout_buf, SAI_BUF_SIZE / 2) != HAL_OK)
  {
	  /* SAI transmit start error */
	  Error_Handler();
  }

  //HAL_TIM_Base_Start_IT(&htim6);

  //send_switch_to_phonoin();
  //send_switch_to_linein();

  /* USER CODE END 2 */

  /* Infinite loop */
  /* USER CODE BEGIN WHILE */
  while (1)
  {
	  tud_task();

	  codec_control_task();

	  hid_keyscan_task();
    /* USER CODE END WHILE */

  }
}

void SystemClock_Config(void)
{
  RCC_OscInitTypeDef RCC_OscInitStruct = {0};
  RCC_ClkInitTypeDef RCC_ClkInitStruct = {0};

  /** Configure the main internal regulator output voltage
  */
  HAL_PWREx_ControlVoltageScaling(PWR_REGULATOR_VOLTAGE_SCALE1_BOOST);

  /** Initializes the RCC Oscillators according to the specified parameters
  * in the RCC_OscInitTypeDef structure.
  */
  RCC_OscInitStruct.OscillatorType = RCC_OSCILLATORTYPE_HSI48|RCC_OSCILLATORTYPE_HSE;
  RCC_OscInitStruct.HSEState = RCC_HSE_BYPASS;
  RCC_OscInitStruct.HSI48State = RCC_HSI48_ON;
  RCC_OscInitStruct.PLL.PLLState = RCC_PLL_ON;
  RCC_OscInitStruct.PLL.PLLSource = RCC_PLLSOURCE_HSE;
  RCC_OscInitStruct.PLL.PLLM = RCC_PLLM_DIV1;
  RCC_OscInitStruct.PLL.PLLN = 24;
  RCC_OscInitStruct.PLL.PLLP = RCC_PLLP_DIV2;
  RCC_OscInitStruct.PLL.PLLQ = RCC_PLLQ_DIV6;
  RCC_OscInitStruct.PLL.PLLR = RCC_PLLR_DIV2;
  if (HAL_RCC_OscConfig(&RCC_OscInitStruct) != HAL_OK)
  {
    Error_Handler();
  }

  /** Initializes the CPU, AHB and APB buses clocks
  */
  RCC_ClkInitStruct.ClockType = RCC_CLOCKTYPE_HCLK|RCC_CLOCKTYPE_SYSCLK
                              |RCC_CLOCKTYPE_PCLK1|RCC_CLOCKTYPE_PCLK2;
  RCC_ClkInitStruct.SYSCLKSource = RCC_SYSCLKSOURCE_PLLCLK;
  RCC_ClkInitStruct.AHBCLKDivider = RCC_SYSCLK_DIV1;
  RCC_ClkInitStruct.APB1CLKDivider = RCC_HCLK_DIV1;
  RCC_ClkInitStruct.APB2CLKDivider = RCC_HCLK_DIV1;

  if (HAL_RCC_ClockConfig(&RCC_ClkInitStruct, FLASH_LATENCY_4) != HAL_OK)
  {
    Error_Handler();
  }
}

void Error_Handler(void)
{
  __disable_irq();
  while (1)
  {
  }
}
